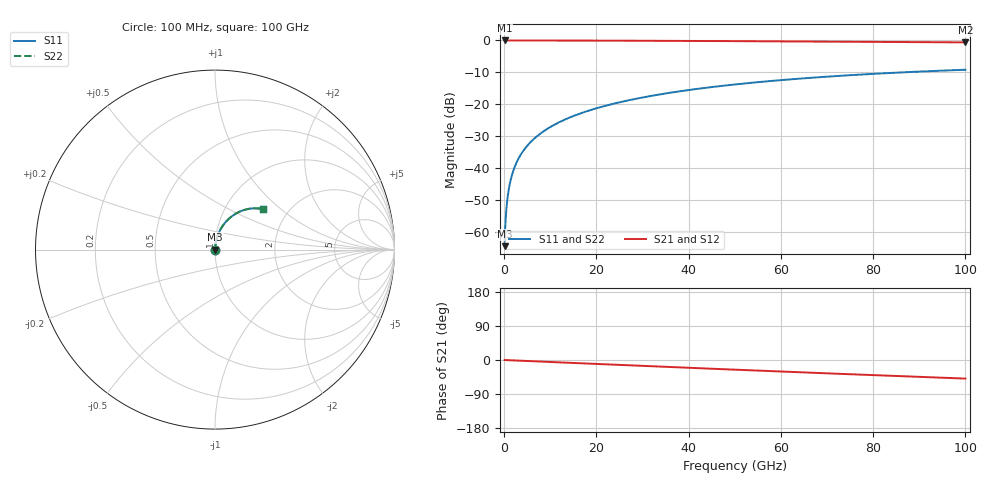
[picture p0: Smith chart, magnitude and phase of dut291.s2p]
! Touchstone file exported from HFSS 2026.1.0
!  File:  C:/ffzhzh/LocalFiles/Ansys_Project_Files/temp_train_TSV_291_1783508982_55944.aedt
!  Generated:  07:11:04 PM Jul  8, 2026
!  Design:  TSV
!  Project:  temp_train_TSV_291_1783508982_55944
! Variables:
!  h_bsmrdl = 2um
!  h_ox = 20um
!  h_rdl = 5um
!  h_sub = 89.42um
!  h_tmrdl = 5um
!  h_tsv = 89.42um
!  h_via = 3um
!  l_bsmrdl = 300um
!  l_sub = 410.96um
!  l_tmrdl = 200um
!  m_sub = 200um
!  pitch = 48.71um
!  r_tsv = 5.48um
!  s_tmrdl = 10um
!  w_bsmrdl = 18um
!  w_sub = 500um
!  w_tmrdl = 12um
!  x_tsv_center1 = 206um
!  x_tsv_center2 = 524um
!  x_tsv_center3 = 736um
!  x_tsv_center4 = 1054um
!  x_tsv_center5 = 1266um
!  x_tsv_center6 = 1584um
# GHz S MA R 50.000000
! Terminal data exported
! Port[1] = TSV1_1_T1
! Port[2] = TSV1_1_T2
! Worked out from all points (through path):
!   1000 points, 100 MHz to 100 GHz, reference 50 ohm
!   highest |S21| = 0.00 dB at 100 MHz (marker M1); lowest = -0.6 dB at 100 GHz (marker M2)
!   group delay of S21, straight-line fit = 1.36 ps
!   lowest |S11| = -64.3 dB at 100 MHz (marker M3), VSWR 1.00, Z = 50 + j0.0484 ohm
!   |S11| at or under -10 dB: start of sweep to 85.98 GHz
!   |S22| runs from -64.3 to -9.2 dB; largest |S21 - S12| = 3.5e-15
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0.1  0.0006102 52.5  0.9996 -0.1  0.9996 -0.1  0.0006102 52.5
! Gamma 0 0 0 0
! Port Impedance 50 0 50 0
0.4  0.001934 77.6  0.9996 -0.2  0.9996 -0.2  0.001934 77.6
0.7  0.003314 82.1  0.9996 -0.4  0.9996 -0.4  0.003314 82.1
0.8  0.003776 82.8  0.9995 -0.4  0.9995 -0.4  0.003776 82.8
1.1  0.005161 84.0  0.9995 -0.6  0.9995 -0.6  0.005161 84.0
1.4  0.00654 84.6  0.9994 -0.8  0.9994 -0.8  0.00654 84.6
1.9  0.008821 85.0  0.9993 -1.0  0.9993 -1.0  0.008821 85.0
2.4  0.01108 85.1  0.9992 -1.3  0.9992 -1.3  0.01108 85.1
3  0.01376 85.0  0.9991 -1.6  0.9991 -1.6  0.01376 85.0
3.8  0.0173 84.9  0.9989 -2.0  0.9989 -2.0  0.0173 84.9
4.8  0.0217 84.6  0.9987 -2.5  0.9987 -2.5  0.0217 84.6
6  0.02695 84.3  0.9984 -3.2  0.9984 -3.2  0.02695 84.3
8.8  0.03915 83.3  0.9978 -4.6  0.9978 -4.6  0.03915 83.3
12.4  0.05471 81.7  0.9968 -6.5  0.9968 -6.5  0.05471 81.7
16.8  0.07353 79.7  0.9953 -8.8  0.9953 -8.8  0.07353 79.7
24.2  0.1046 76.1  0.9921 -12.5  0.9921 -12.5  0.1046 76.1
33.4  0.1421 71.7  0.9871 -17.2  0.9871 -17.2  0.1421 71.7
41.2  0.1725 67.8  0.9819 -21.2  0.9819 -21.2  0.1725 67.9
50.1  0.2056 63.5  0.9753 -25.6  0.9753 -25.6  0.2056 63.5
66.7  0.2615 55.6  0.9615 -33.6  0.9615 -33.6  0.2615 55.6
83.4  0.3096 47.8  0.9469 -41.5  0.9469 -41.5  0.3096 47.9
100  0.3484 40.3  0.9331 -49.0  0.9331 -49.0  0.3484 40.4
